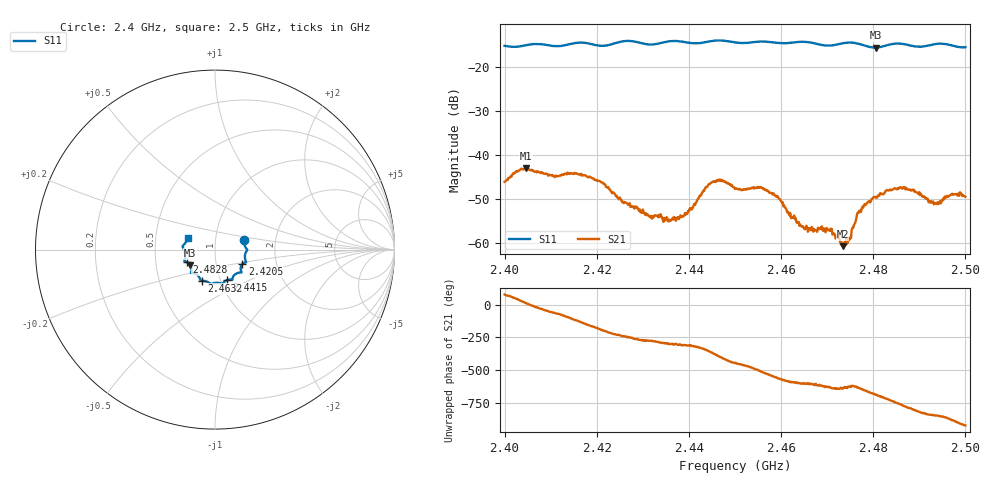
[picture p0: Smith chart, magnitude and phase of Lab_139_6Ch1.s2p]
# Hz S RI R 50
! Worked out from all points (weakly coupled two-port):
!   601 points, 2.4 GHz to 2.5 GHz, reference 50 ohm
!   highest |S21| = -43.05 dB at 2.4047 GHz (marker M1); lowest = -60.6 dB at 2.4733 GHz (marker M2)
!   lowest |S11| = -15.7 dB at 2.4805 GHz (marker M3), VSWR 1.39, Z = 37.3 - j6.69 ohm
!   |S11| at or under -10 dB: start of sweep to end of sweep
!   S12 and S22 are empty: the file has one direction only
!   S11 on the Smith chart (normalised r, x): 2.4 GHz: 1.38, +0.15; 2.4205 GHz: 1.34, -0.22; 2.4415 GHz: 1.07, -0.38; 2.4632 GHz: 0.82, -0.29; 2.4828 GHz: 0.72, -0.10; 2.5 GHz: 0.73, +0.10
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2.4e9  0.1636 0.0517  0.00114 0.00484  0 0  0 0
2.404667e9  0.1743 0.00596  0.00692 0.00131  0 0  0 0
2.416667e9  0.173 -0.0699  -0.00448 -0.00416  0 0  0 0
2.4205e9  0.1518 -0.0816  -0.00506 0.000554  0 0  0 0
2.433333e9  0.1001 -0.1516  0.000553 0.00189  0 0  0 0
2.4375e9  0.0954 -0.1692  0.00116 0.0016  0 0  0 0
2.4415e9  0.0659 -0.1708  0.00226 0.00179  0 0  0 0
2.445167e9  0.0429 -0.1903  0.00483 -0.00106  0 0  0 0
2.45e9  0.0241 -0.1862  0.000148 -0.00413  0 0  0 0
2.456167e9  -0.0223 -0.1903  -0.00398 -0.00138  0 0  0 0
2.463167e9  -0.073 -0.1738  -0.00106 0.00161  0 0  0 0
2.466667e9  -0.0821 -0.1669  -0.000561 0.00143  0 0  0 0
2.4705e9  -0.1037 -0.1378  -2.4e-07 0.00143  0 0  0 0
2.473333e9  -0.1286 -0.1301  0.000231 0.0009  0 0  0 0
2.474833e9  -0.134 -0.1303  -2.12e-05 0.0011  0 0  0 0
2.477e9  -0.1319 -0.1225  0.000386 0.00231  0 0  0 0
2.4805e9  -0.1386 -0.0873  0.00291 0.00167  0 0  0 0
2.482833e9  -0.1584 -0.0702  0.00398 -3.9e-06  0 0  0 0
2.483333e9  -0.1624 -0.0682  0.00393 -0.000422  0 0  0 0
2.488333e9  -0.1663 -0.0431  0.00083 -0.00389  0 0  0 0
2.493667e9  -0.1799 0.0136  -0.0018 -0.00223  0 0  0 0
2.5e9  -0.1525 0.0643  -0.00303 0.00144  0 0  0 0
